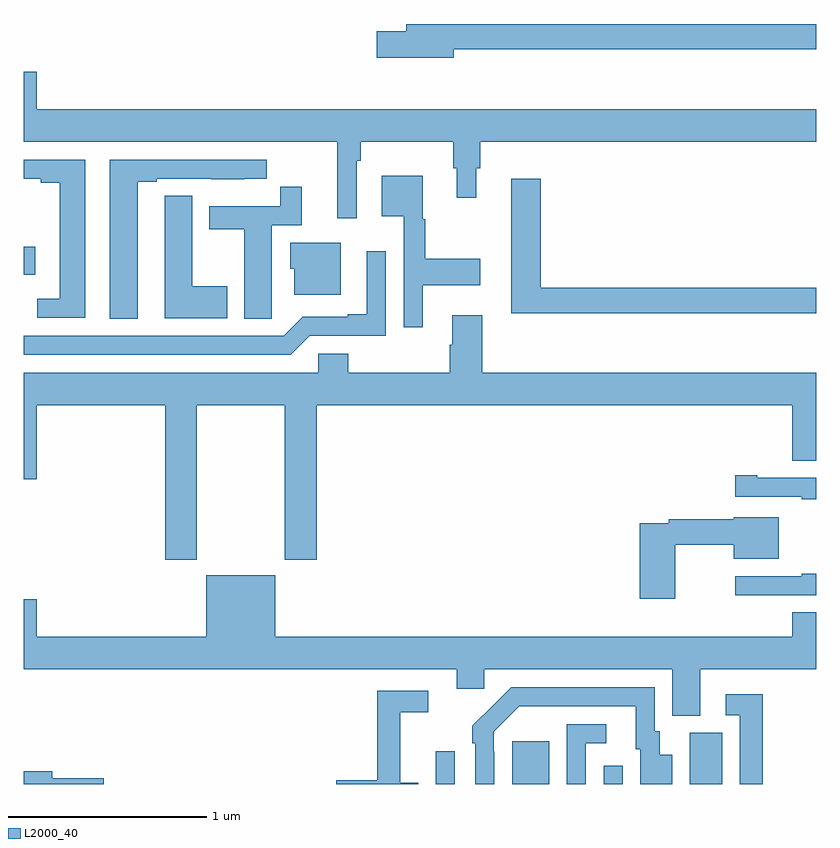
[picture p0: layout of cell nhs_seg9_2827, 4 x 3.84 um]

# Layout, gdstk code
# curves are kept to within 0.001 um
import gdstk
lib = gdstk.Library(unit=1e-6, precision=1e-09)
def R(c, l, rs):  # rectangles x0, y0, x1, y1
    for r in rs: c.add(gdstk.rectangle(r[:2], r[2:], *l))
def P(c, l, *ps):  # polygons
    for p in ps: c.add(gdstk.Polygon(p, *l))
L2000_40 = (2000, 40)

nhs_seg9_2827 = lib.new_cell('nhs_seg9_2827')
R(nhs_seg9_2827, L2000_40, [(275.079,1202.5,275.175,1202.665), (275.465,1202.5,275.653,1202.716), (275.928,1202.5,276.024,1202.593), (276.362,1202.5,276.526,1202.76), (273,1205.072,273.058,1205.212)])
P(nhs_seg9_2827, L2000_40, [(275.17,1206.21),(277,1206.21),(277,1206.338),(274.931,1206.338),(274.931,1206.302),(274.782,1206.302),(274.782,1206.167),(275.17,1206.167)],
  [(274.68,1205.648),(274.7,1205.648),(274.7,1205.744),(275.167,1205.744),(275.167,1205.61),(275.186,1205.61),(275.186,1205.46),(275.284,1205.46),(275.284,1205.61),(275.303,1205.61),(275.303,1205.744),(277,1205.744),(277,1205.908),(273.064,1205.908),(273.064,1206.097),(273,1206.097),(273,1205.744),(274.583,1205.744),(274.583,1205.358),(274.68,1205.358)],
  [(273.574,1205.541),(273.67,1205.541),(273.67,1205.556),(273.946,1205.556),(273.946,1205.555),(274.112,1205.555),(274.112,1205.556),(274.225,1205.556),(274.225,1205.652),(273.434,1205.652),(273.434,1204.849),(273.574,1204.849)],
  [(273.31,1205.652),(273,1205.652),(273,1205.556),(273.086,1205.556),(273.086,1205.536),(273.182,1205.536),(273.182,1204.95),(273.066,1204.95),(273.066,1204.854),(273.31,1204.854)],
  [(275.014,1205.018),(275.305,1205.018),(275.305,1205.153),(275.026,1205.153),(275.026,1205.352),(275.014,1205.352),(275.014,1205.572),(274.808,1205.572),(274.808,1205.366),(274.917,1205.366),(274.917,1204.806),(275.014,1204.806)],
  [(277,1205.006),(275.609,1205.006),(275.609,1205.557),(275.462,1205.557),(275.462,1204.878),(277,1204.878)],
  [(274.251,1204.96),(274.252,1204.96),(274.252,1205.322),(274.403,1205.322),(274.403,1205.515),(274.294,1205.515),(274.294,1205.418),(273.935,1205.418),(273.935,1205.302),(274.112,1205.302),(274.112,1204.849),(274.251,1204.849)],
  [(274.027,1205.013),(273.85,1205.013),(273.85,1205.471),(273.711,1205.471),(273.711,1205.363),(273.71,1205.363),(273.71,1204.853),(274.027,1204.853)],
  [(274.6,1205.233),(274.346,1205.233),(274.346,1205.103),(274.364,1205.103),(274.364,1204.97),(274.6,1204.97)],
  [(274.443,1204.764),(274.827,1204.764),(274.827,1205.191),(274.73,1205.191),(274.73,1204.873),(274.634,1204.873),(274.634,1204.86),(274.407,1204.86),(274.311,1204.764),(273,1204.764),(273,1204.668),(274.347,1204.668)],
  [(273.873,1204.412),(274.318,1204.412),(274.318,1203.633),(274.478,1203.633),(274.478,1204.412),(276.881,1204.412),(276.881,1204.132),(277,1204.132),(277,1204.576),(275.315,1204.576),(275.315,1204.867),(275.162,1204.867),(275.162,1204.718),(275.15,1204.718),(275.15,1204.576),(274.637,1204.576),(274.637,1204.674),(274.485,1204.674),(274.485,1204.576),(273,1204.576),(273,1204.038),(273.064,1204.038),(273.064,1204.412),(273.713,1204.412),(273.713,1203.633),(273.873,1203.633)],
  [(277,1204.047),(276.703,1204.047),(276.703,1204.06),(276.591,1204.06),(276.591,1203.951),(276.929,1203.951),(276.929,1203.939),(277,1203.939)],
  [(276.288,1203.708),(276.584,1203.708),(276.584,1203.638),(276.811,1203.638),(276.811,1203.847),(276.584,1203.847),(276.584,1203.836),(276.256,1203.836),(276.256,1203.816),(276.11,1203.816),(276.11,1203.435),(276.288,1203.435)],
  [(277,1203.562),(276.929,1203.562),(276.929,1203.549),(276.591,1203.549),(276.591,1203.453),(277,1203.453)],
  [(276.415,1203.08),(277,1203.08),(277,1203.368),(276.881,1203.368),(276.881,1203.244),(274.27,1203.244),(274.27,1203.553),(273.92,1203.553),(273.92,1203.244),(273.064,1203.244),(273.064,1203.433),(273,1203.433),(273,1203.08),(275.186,1203.08),(275.186,1202.982),(275.325,1202.982),(275.325,1203.08),(276.275,1203.08),(276.275,1202.845),(276.415,1202.845)],
  [(275.376,1202.663),(275.373,1202.663),(275.373,1202.763),(275.502,1202.892),(276.089,1202.892),(276.089,1202.676),(276.113,1202.676),(276.113,1202.5),(276.274,1202.5),(276.274,1202.647),(276.211,1202.647),(276.211,1202.766),(276.186,1202.766),(276.186,1202.988),(275.462,1202.988),(275.265,1202.793),(275.265,1202.705),(275.28,1202.705),(275.28,1202.5),(275.376,1202.5)],
  [(274.99,1202.506),(274.901,1202.506),(274.901,1202.862),(275.041,1202.862),(275.041,1202.97),(274.783,1202.97),(274.783,1202.519),(274.578,1202.519),(274.578,1202.5),(274.99,1202.5)],
  [(276.731,1202.953),(276.543,1202.953),(276.543,1202.847),(276.615,1202.847),(276.615,1202.5),(276.731,1202.5)],
  [(275.838,1202.706),(275.941,1202.706),(275.941,1202.802),(275.742,1202.802),(275.742,1202.5),(275.838,1202.5)],
  [(273.403,1202.528),(273.142,1202.528),(273.142,1202.564),(273,1202.564),(273,1202.5),(273.403,1202.5)])

lib.write_gds('nhs_seg9_2827.gds')
